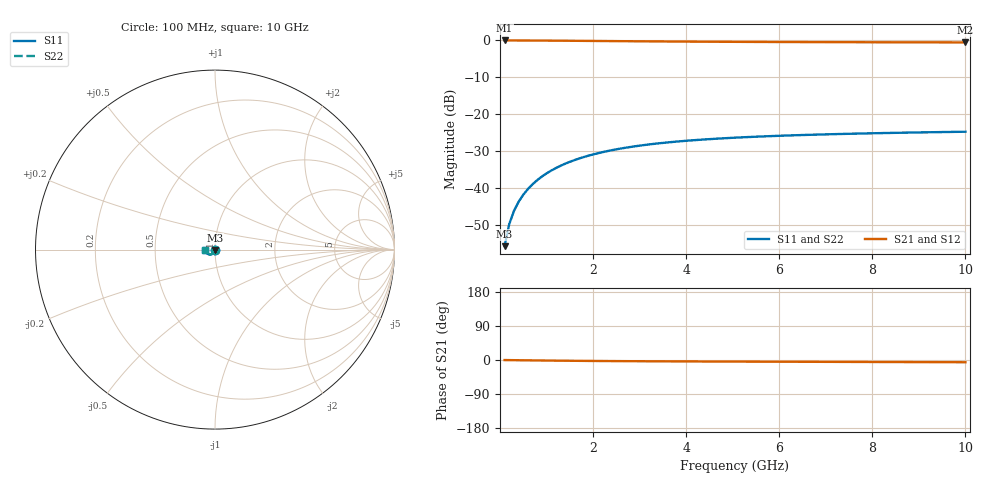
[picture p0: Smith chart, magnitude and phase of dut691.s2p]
! Touchstone file exported from HFSS 2024.1.0
!  File:  C:/UserFiles/LocalFiles/RDL_TSV_Batchsim/temp_TSV1_691_1779796272.aedt
!  Generated:  07:55:51 PM May 26, 2026
!  Design:  TSV1
!  Project:  temp_TSV1_691_1779796272
!  Setup:  Setup1
!  Solution:  Sweep
! Variables:
!  dtsv = 11.43um
!  hbump = 3um
!  htsv = 93.76um
!  lrdl = 252.1521522um
!  p = 40
!  p1 = 50.9um
!  t = 500um
!  trdl = 3um
!  wrdl = 24.89489489um
# GHz S MA R 50.000000
! Terminal data exported
! Port[1] = TSV22_T1
! Port[2] = TSV22_T2
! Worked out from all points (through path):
!   100 points, 100 MHz to 10 GHz, reference 50 ohm
!   highest |S21| = 0.00 dB at 100 MHz (marker M1); lowest = -0.5 dB at 10 GHz (marker M2)
!   lowest |S11| = -55.7 dB at 100 MHz (marker M3), VSWR 1.00, Z = 50 - j0.163 ohm
!   |S11| at or under -10 dB: start of sweep to end of sweep
!   |S22| runs from -55.7 to -24.7 dB; largest |S21 - S12| = 5.8e-15
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0.1  0.001632 -87.4  0.9998 -0.2  0.9998 -0.2  0.001632 -87.4
! Gamma 0 0 0 0
! Port Impedance 50 0 50 0
0.2  0.003258 -91.2  0.9997 -0.3  0.9997 -0.3  0.003258 -91.2
0.3  0.004882 -93.6  0.9994 -0.5  0.9994 -0.5  0.004882 -93.6
0.4  0.006499 -95.7  0.999 -0.6  0.999 -0.6  0.006499 -95.7
0.5  0.008104 -97.7  0.9986 -0.7  0.9986 -0.7  0.008104 -97.7
0.6  0.009691 -99.6  0.998 -0.9  0.998 -0.9  0.009691 -99.6
0.7  0.01126 -101.4  0.9974 -1.0  0.9974 -1.0  0.01126 -101.4
0.8  0.0128 -103.2  0.9967 -1.2  0.9967 -1.2  0.0128 -103.2
0.9  0.01431 -105.0  0.9959 -1.3  0.9959 -1.3  0.01431 -105.0
1.1  0.01723 -108.4  0.9942 -1.6  0.9942 -1.6  0.01723 -108.4
1.4  0.02135 -113.3  0.9913 -1.9  0.9913 -1.9  0.02135 -113.3
1.6  0.02391 -116.4  0.9892 -2.1  0.9892 -2.1  0.02391 -116.4
1.8  0.0263 -119.4  0.9869 -2.3  0.9869 -2.3  0.0263 -119.4
2.1  0.0296 -123.5  0.9836 -2.6  0.9836 -2.6  0.0296 -123.5
2.5  0.03347 -128.7  0.9791 -2.9  0.9791 -2.9  0.03347 -128.7
2.9  0.0368 -133.3  0.9748 -3.2  0.9748 -3.2  0.0368 -133.3
3.4  0.04029 -138.5  0.97 -3.5  0.97 -3.5  0.04029 -138.5
4.2  0.04468 -145.6  0.9633 -3.8  0.9633 -3.8  0.04468 -145.6
5.1  0.04833 -152.2  0.9573 -4.2  0.9573 -4.2  0.04833 -152.2
6.7  0.05277 -161.5  0.9496 -4.8  0.9496 -4.8  0.05278 -161.5
8.4  0.05588 -169.3  0.9443 -5.4  0.9443 -5.4  0.05588 -169.3
10  0.05799 -175.4  0.9409 -5.9  0.9409 -5.9  0.05799 -175.4
